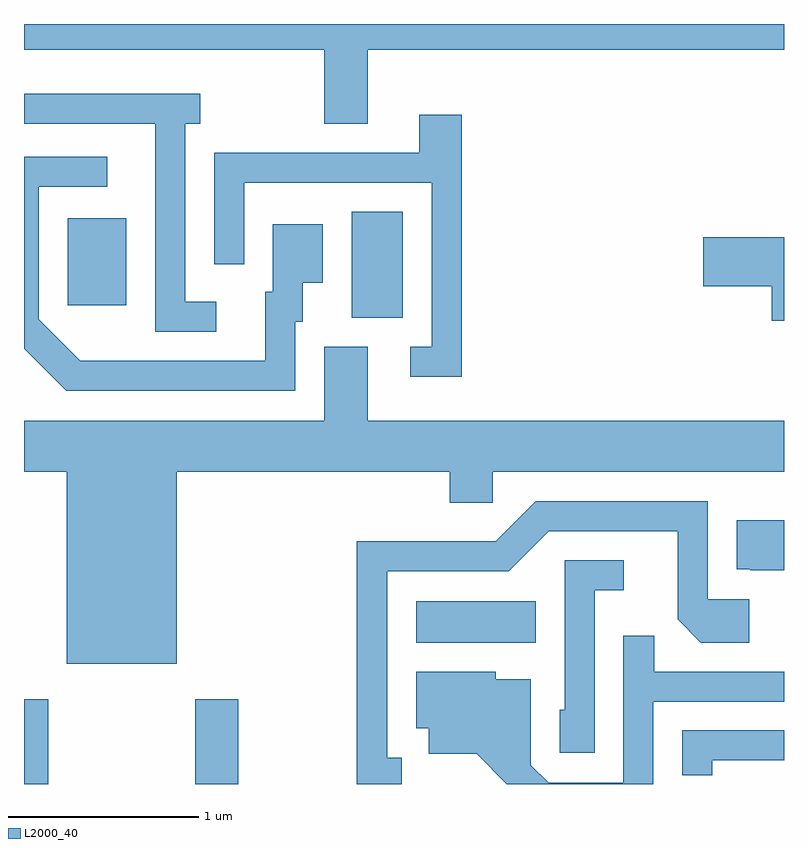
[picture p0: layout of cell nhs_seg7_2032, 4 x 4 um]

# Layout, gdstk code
import gdstk
lib = gdstk.Library(unit=1e-6, precision=1e-09)
def R(c, l, rs):  # rectangles x0, y0, x1, y1
    for r in rs: c.add(gdstk.rectangle(r[:2], r[2:], *l))
def P(c, l, *ps):  # polygons
    for p in ps: c.add(gdstk.Polygon(p, *l))
L2000_40 = (2000, 40)

nhs_seg7_2032 = lib.new_cell('nhs_seg7_2032')
R(nhs_seg7_2032, L2000_40, [(247.611,1688.252,247.739,1688.699), (248.511,1688.252,248.739,1688.699), (249.676,1688.996,250.304,1689.214), (249.336,1690.706,249.604,1691.264), (247.841,1690.771,248.149,1691.229)])
P(nhs_seg7_2032, L2000_40, [(249.419,1692.116),(251.611,1692.116),(251.611,1692.252),(247.611,1692.252),(247.611,1692.116),(249.191,1692.116),(249.191,1691.726),(249.419,1691.726)],
  [(248.623,1690.789),(248.459,1690.789),(248.459,1691.726),(248.538,1691.726),(248.538,1691.884),(247.611,1691.884),(247.611,1691.726),(248.301,1691.726),(248.301,1690.631),(248.623,1690.631)],
  [(249.914,1691.774),(249.691,1691.774),(249.691,1691.574),(248.611,1691.574),(248.611,1690.988),(248.769,1690.988),(248.769,1691.416),(249.756,1691.416),(249.756,1690.554),(249.643,1690.554),(249.643,1690.396),(249.914,1690.396)],
  [(249.039,1690.686),(249.079,1690.686),(249.079,1690.891),(249.184,1690.891),(249.184,1691.199),(248.921,1691.199),(248.921,1690.844),(248.881,1690.844),(248.881,1690.479),(247.907,1690.479),(247.689,1690.697),(247.689,1691.396),(248.048,1691.396),(248.048,1691.554),(247.611,1691.554),(247.611,1690.544),(247.834,1690.321),(249.039,1690.321)],
  [(251.611,1691.129),(251.186,1691.129),(251.186,1690.871),(251.546,1690.871),(251.546,1690.691),(251.611,1690.691)],
  [(248.414,1689.896),(249.851,1689.896),(249.851,1689.731),(250.079,1689.731),(250.079,1689.896),(251.611,1689.896),(251.611,1690.164),(249.419,1690.164),(249.419,1690.554),(249.191,1690.554),(249.191,1690.164),(247.611,1690.164),(247.611,1689.896),(247.836,1689.896),(247.836,1688.886),(248.414,1688.886)],
  [(249.598,1688.389),(249.524,1688.389),(249.524,1689.371),(250.162,1689.371),(250.372,1689.581),(251.051,1689.581),(251.051,1689.119),(251.174,1688.996),(251.429,1688.996),(251.429,1689.224),(251.209,1689.224),(251.209,1689.739),(250.304,1689.739),(250.094,1689.529),(249.361,1689.529),(249.361,1688.252),(249.598,1688.252)],
  [(251.611,1689.639),(251.361,1689.639),(251.361,1689.381),(251.429,1689.381),(251.434,1689.376),(251.611,1689.376)],
  [(250.614,1689.271),(250.768,1689.271),(250.768,1689.429),(250.456,1689.429),(250.456,1688.644),(250.431,1688.644),(250.431,1688.416),(250.614,1688.416)],
  [(250.924,1688.686),(251.611,1688.686),(251.611,1688.844),(250.929,1688.844),(250.929,1689.033),(250.766,1689.033),(250.766,1688.259),(250.372,1688.259),(250.279,1688.352),(250.279,1688.804),(250.094,1688.804),(250.094,1688.844),(249.676,1688.844),(249.676,1688.546),(249.741,1688.546),(249.741,1688.411),(249.994,1688.411),(250.153,1688.252),(250.924,1688.252)],
  [(251.234,1688.376),(251.611,1688.376),(251.611,1688.534),(251.076,1688.534),(251.076,1688.298),(251.234,1688.298)])

lib.write_gds('nhs_seg7_2032.gds')
